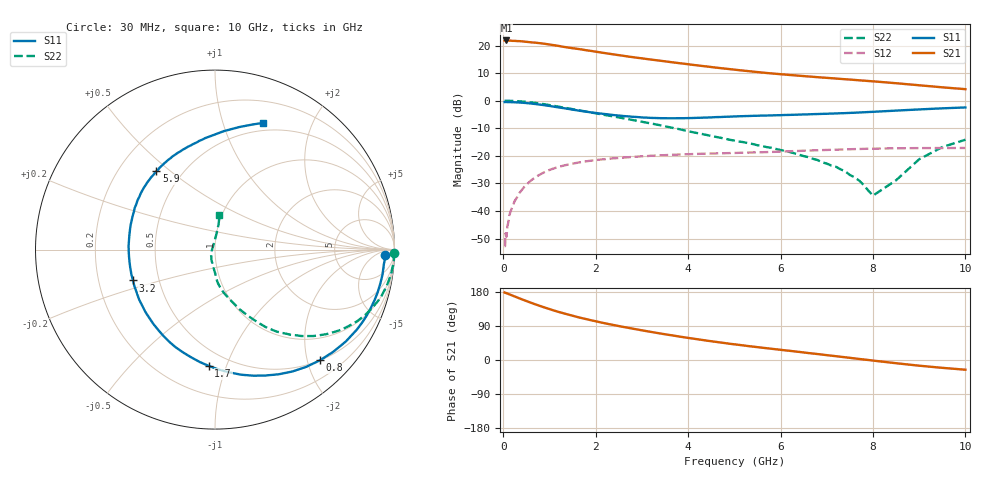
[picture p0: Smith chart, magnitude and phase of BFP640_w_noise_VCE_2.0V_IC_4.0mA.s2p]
! (c) 2013  Infineon Technologies AG, Munich
! Infineon Technologies  Discrete & RF Semiconductors
! BFP640
! VCE =  2.0 V,  IC =  4.0 mA
! Common Emitter S-Parameters:  Apr 2013
# GHz  S  MA  R  50
!  f  S11  S21  S12  S22
! GHz  MAG  ANG  MAG  ANG  MAG  ANG  MAG  ANG
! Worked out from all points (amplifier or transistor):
!   99 points, 30 MHz to 10 GHz, reference 50 ohm
!   highest |S21| = 21.9 dB at 70 MHz (marker M1)
!   |S21| within 3 dB of that: start of sweep to 1.586 GHz
!   unconditionally stable (mu >= 1): 5.353 GHz to end of sweep
!   at 350 MHz: K = 0.06, MSG = 27.5 dB, |S12| = -33.5 dB
!   at 3.5 GHz: K = 0.76, MSG = 17.0 dB, |S12| = -19.7 dB
!   at 10 GHz: K = 1.17, MAG = 8.2 dB, |S12| = -17.1 dB
!   lowest NFmin = 0.54 dB at 450 MHz
!   S11 on the Smith chart (normalised r, x): 30 MHz: 28, -15; 800 MHz: 0.50, -2.23; 1.7 GHz: 0.39, -0.87; 3.2 GHz: 0.35, -0.16; 5.9 GHz: 0.36, +0.45; 10 GHz: 0.42, +1.37
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0.03  0.9459 -1.7  12.32 178.1  0.0023 103.0  0.9978 -1.0
0.05  0.9466 -2.9  12.36 177.4  0.0039 71.2  0.9996 -1.8
0.07  0.9463 -4.1  12.39 176.3  0.0034 82.1  0.9986 -2.4
0.15  0.9432 -8.8  12.35 172.5  0.0094 87.4  0.9951 -5.3
0.4  0.9215 -23.6  11.96 160.3  0.0239 77.3  0.9688 -14.0
0.6  0.891 -35.0  11.46 151.1  0.0357 71.9  0.9334 -20.5
0.8  0.85 -46.5  11.03 142.4  0.0461 64.8  0.8871 -26.7
1  0.8044 -57.6  10.46 134.4  0.0555 58.7  0.8343 -32.3
1.2  0.7561 -68.1  9.857 126.8  0.063 53.2  0.7791 -37.2
1.7  0.6488 -93.1  8.494 110.6  0.0774 42.3  0.6567 -46.6
2.1  0.5866 -112.0  7.534 99.5  0.0857 35.5  0.5708 -53.1
2.4  0.5483 -125.2  6.903 92.0  0.0902 31.2  0.5156 -56.8
2.8  0.5115 -142.5  6.178 82.7  0.0958 26.3  0.4473 -61.0
3.2  0.4884 -159.4  5.579 74.1  0.1004 22.2  0.3871 -65.3
3.4  0.4828 -167.8  5.315 69.9  0.1024 20.1  0.3587 -67.6
4.2  0.4896 163.9  4.376 54.8  0.1085 13.3  0.2587 -76.8
5.1  0.5221 140.9  3.586 39.9  0.1134 7.2  0.182 -85.5
5.9  0.5447 126.8  3.08 28.3  0.1184 2.9  0.1335 -89.4
6.7  0.5705 114.5  2.715 17.1  0.1255 -1.7  0.0885 -97.6
8  0.6289 93.3  2.249 -1.5  0.135 -10.5  0.019 -162.3
8.5  0.662 85.7  2.077 -8.5  0.1373 -14.1  0.0361 99.2
10  0.7552 69.2  1.62 -25.6  0.1391 -22.6  0.1962 82.7
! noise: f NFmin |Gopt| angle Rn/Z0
0.45  0.54  0.5  12  0.12
0.9  0.55  0.5  22  0.12
1.5  0.6  0.44  35  0.12
1.9  0.65  0.39  51  0.12
2.4  0.7  0.36  59  0.11
3.5  0.85  0.3  87  0.11
5.5  1.13  0.3  -163  0.12
10  1.9  0.64  -65  0.47
